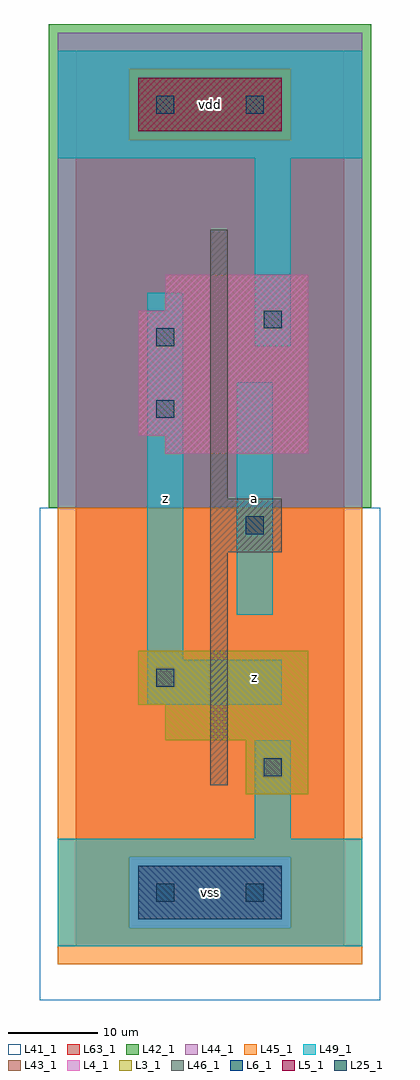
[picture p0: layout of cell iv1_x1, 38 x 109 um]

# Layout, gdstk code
import gdstk
lib = gdstk.Library(unit=1e-6, precision=1e-09)
def R(c, l, rs):  # rectangles x0, y0, x1, y1
    for r in rs: c.add(gdstk.rectangle(r[:2], r[2:], *l))
L3_1 = (3, 1)
L4_1 = (4, 1)
L5_1 = (5, 1)
L6_1 = (6, 1)
L25_1 = (25, 1)
L41_1 = (41, 1)
L42_1 = (42, 1)
L43_1 = (43, 1)
L44_1 = (44, 1)
L45_1 = (45, 1)
L46_1 = (46, 1)
L49_1 = (49, 1)
L63_1 = (63, 1)

iv1_x1 = lib.new_cell('iv1_x1')
R(iv1_x1, L3_1, [(19,17,26,23), (10,23,26,27), (7,27,26,33)])
R(iv1_x1, L4_1, [(10,55,26,57), (7,57,26,71), (10,71,26,75)])
R(iv1_x1, L5_1, [(7,91,23,97)])
R(iv1_x1, L6_1, [(7,3,23,9)])
R(iv1_x1, L25_1, [(9,5,11,7), (19,5,21,7), (21,19,23,21), (9,29,11,31), (19,46,21,48), (9,59,11,61), (9,67,11,69), (21,69,23,71), (9,93,11,95), (19,93,21,95)])
R(iv1_x1, L41_1, [(-4,-6,34,49), (-3,-3,33,49)])
R(iv1_x1, L42_1, [(-3,49,33,103)])
R(iv1_x1, L43_1, [(7,3,23,9), (19,17,26,23), (10,23,26,27), (7,27,26,33), (10,55,26,57), (7,57,26,71), (10,71,26,75), (7,91,23,97)])
R(iv1_x1, L44_1, [(6,2,24,10), (-2,49,32,90), (-2,90,6,98), (24,90,32,98), (-2,98,32,102)])
R(iv1_x1, L45_1, [(-2,-2,32,2), (-2,2,6,10), (24,2,32,10), (-2,10,32,49), (6,90,24,98)])
R(iv1_x1, L46_1, [(15,18,17,44), (15,44,23,50), (15,50,17,80)])
R(iv1_x1, L49_1, [(-2,0,32,12), (20,12,24,23), (8,27,23,32), (8,32,12,73), (18,37,22,63), (20,67,24,88), (-2,88,32,100)])
R(iv1_x1, L63_1, [(0,0,30,100)])
iv1_x1.add(gdstk.Label('z', (10,50), layer=49, texttype=1))
iv1_x1.add(gdstk.Label('z', (10,50), layer=49, texttype=1))
iv1_x1.add(gdstk.Label('vss', (15,6), layer=49, texttype=1))
iv1_x1.add(gdstk.Label('vss', (15,6), layer=49, texttype=1))
iv1_x1.add(gdstk.Label('z', (20,30), layer=49, texttype=1))
iv1_x1.add(gdstk.Label('z', (20,30), layer=49, texttype=1))
iv1_x1.add(gdstk.Label('a', (20,50), layer=49, texttype=1))
iv1_x1.add(gdstk.Label('a', (20,50), layer=49, texttype=1))
iv1_x1.add(gdstk.Label('vdd', (15,94), layer=49, texttype=1))
iv1_x1.add(gdstk.Label('vdd', (15,94), layer=49, texttype=1))

lib.write_gds('iv1_x1.gds')
